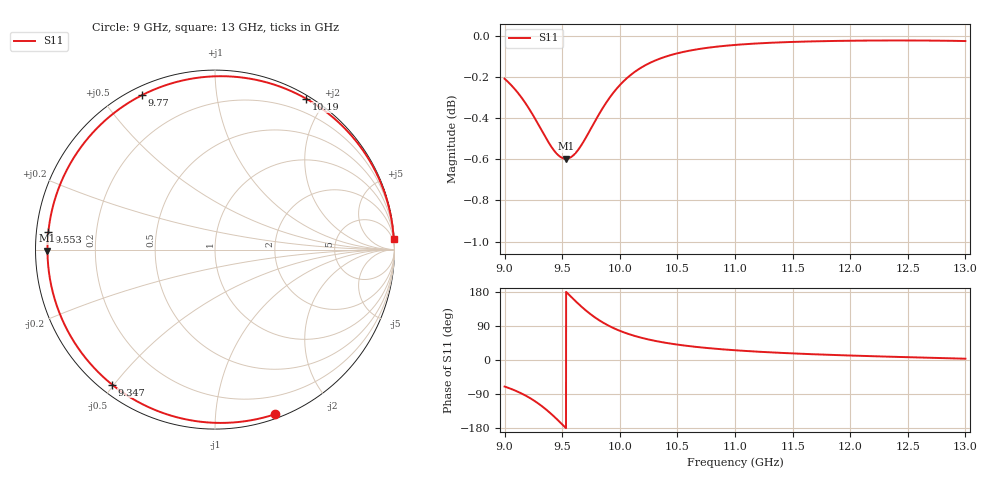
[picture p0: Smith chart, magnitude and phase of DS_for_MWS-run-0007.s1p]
! TOUCHSTONE file generated by CST DESIGN STUDIO
! Date and time: Tue Feb  4 15:49:53 2025
! Project name: C:\Work\MatlabApps\UnitCellOptimizationMatlab\CST\unitcell.cst
! Tree item: Tasks\Sweep1\SPara1\S-Parameters
! Header version: 2024
! Port assignment regex: !\s*Touchstone port\s*([0-9]+)\s*=\s*(CST MWS port|CST DES external port|CST DES block port)\s*(.+)\s* \(\"(.*)\"\)(\s*mode\s*([0-9]+))?.*
! Touchstone port assignment:
! Touchstone port 1 = CST DES external port 1 ("")
# GHz S MA R 50
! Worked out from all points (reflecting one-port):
!   4001 points, 9 GHz to 13 GHz, reference 50 ohm
!   lowest |S11| = -0.6 dB at 9.532 GHz (marker M1), VSWR 29.08, Z = 1.72 - j0.167 ohm
!   phase of S11 starts at -70 deg and turns -287 deg over the sweep
!   S11 on the Smith chart (normalised r, x): 9 GHz: 0.04, -1.43; 9.347 GHz: 0.03, -0.49; 9.553 GHz: 0.03, +0.05; 9.77 GHz: 0.03, +0.63; 10.19 GHz: 0.04, +1.78; 13 GHz: 2, +33
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9  0.9763 -70.0
9.098  0.9699 -81.5
9.205  0.9607 -97.7
9.28  0.953 -112.1
9.347  0.9457 -127.4
9.419  0.9387 -146.2
9.461  0.9356 -158.3
9.5  0.9339 -169.9
9.532  0.9335 -179.6
9.553  0.9337 174.0
9.607  0.9359 157.8
9.667  0.9407 140.8
9.718  0.946 127.6
9.77  0.9517 115.5
9.818  0.9569 105.5
9.871  0.9623 95.8
9.935  0.9679 85.7
10  0.9728 77.0
10.089  0.9781 67.3
10.186  0.9824 58.8
10.329  0.9869 49.1
10.5  0.9903 40.6
10.721  0.993 32.7
11  0.9949 25.7
11.5  0.9966 17.4
12  0.9973 11.8
12.5  0.9974 7.4
13  0.9971 3.4
